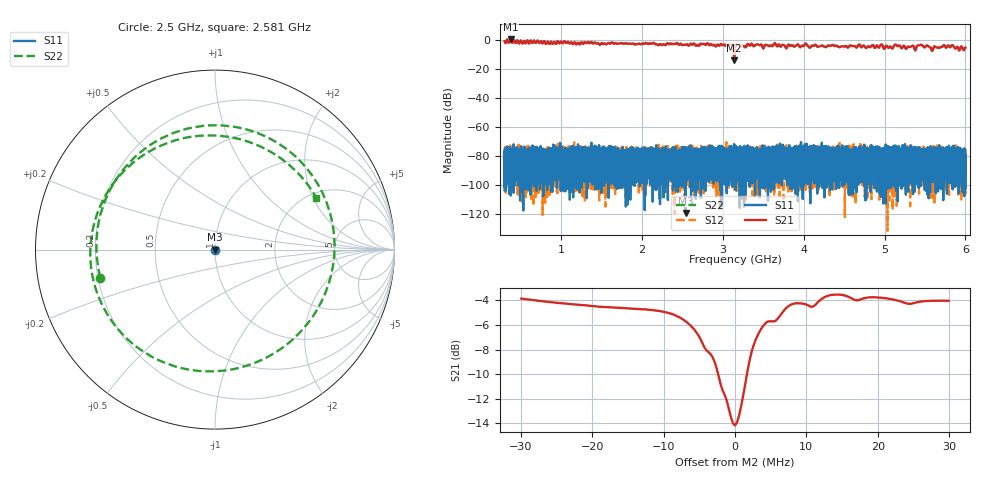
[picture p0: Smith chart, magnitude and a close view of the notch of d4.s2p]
!Agilent Technologies,N5230C,SG49000117,A.08.50.07
!Agilent N5230C: A.08.50.07
!Date: Monday, March 18, 2024 18:55:33
!Correction: S11(Off)
!S21(Off)
!S12(Off)
!S22(Off)
!S2P File: Measurements: S11, S21, S12, S22:
# Hz S  RI  R 50
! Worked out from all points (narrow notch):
!   20001 points, 300 MHz to 6 GHz, reference 50 ohm
!   highest |S21| = 0.44 dB at 373.5 MHz (marker M1); lowest = -14.2 dB at 3.14 GHz (marker M2)
!   notch at M2: 10.6 dB deep, 5.03 MHz wide at half that depth
!   lowest |S11| = -119.4 dB at 2.54 GHz (marker M3), VSWR 1.00, Z = 50 - j7.43e-05 ohm
!   |S11| at or under -10 dB: start of sweep to end of sweep
!   |S22| runs from -14.1 to 0.5 dB; largest |S21 - S12| = 1.1
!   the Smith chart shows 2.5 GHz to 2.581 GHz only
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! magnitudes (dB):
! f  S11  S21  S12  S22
! 300 MHz  -103.8  -1.0  -79.5  -0.9
! 373.5 MHz  -82.3  0.4  -87.1  0.5
! 1.25 GHz  -79.4  -1.7  -80.0  -1.7
! 2.2 GHz  -96.3  -3.7  -80.5  -3.7
! 2.54 GHz  -119.4  -3.5  -78.1  -3.5
! 3.08 GHz  -82.2  -3.4  -85.5  -3.4
! 3.14 GHz  -83.5  -14.2  -76.5  -14.1
! 3.15 GHz  -80.3  -4.4  -82.4  -4.4
! 3.176 GHz  -82.4  -3.7  -79.0  -3.7
! 3.266 GHz  -86.8  -4.5  -84.7  -4.4
! 3.332 GHz  -80.7  -4.1  -86.1  -4.1
! 3.778 GHz  -79.3  -5.6  -74.9  -5.5
! 4.026 GHz  -87.9  -2.7  -82.8  -2.6
! 4.1 GHz  -89.5  -4.1  -75.4  -4.0
! 5.05 GHz  -82.8  -5.6  -76.4  -5.6
! 5.146 GHz  -91.7  -3.7  -84.0  -3.7
! 5.382 GHz  -75.3  -7.2  -80.0  -7.2
! 5.439 GHz  -89.3  -3.8  -80.5  -3.8
! 5.541 GHz  -85.8  -4.4  -77.1  -4.4
! 5.579 GHz  -81.8  -6.6  -81.1  -6.6
! 5.817 GHz  -80.9  -4.8  -80.3  -4.8
! 6 GHz  -89.6  -5.4  -83.6  -5.5
